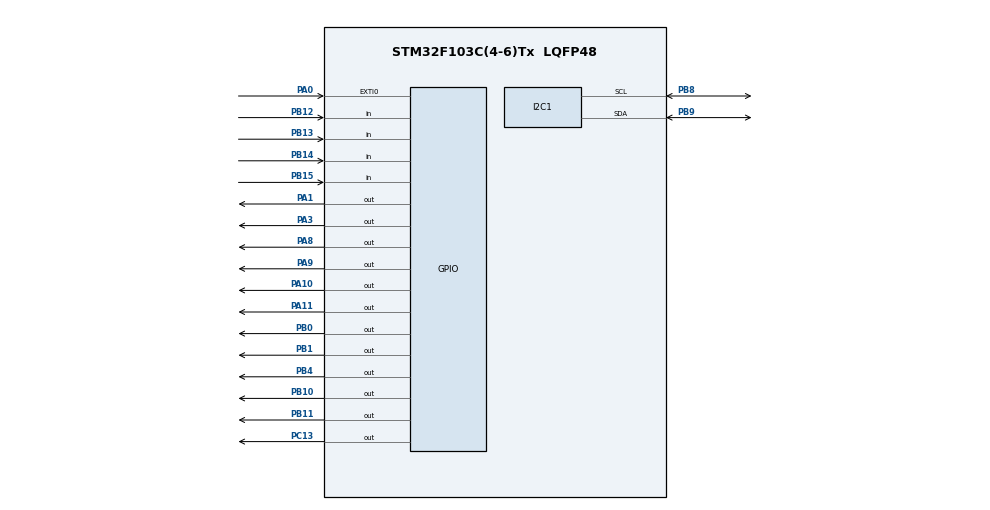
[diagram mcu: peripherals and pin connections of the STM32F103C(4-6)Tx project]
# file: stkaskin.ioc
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Mcu.Family=STM32F1
Mcu.Name=STM32F103C(4-6)Tx
Mcu.Package=LQFP48
NVIC.EXTI0_IRQn=true\:0\:0\:false\:false\:true\:true\:true\:true
NVIC.PriorityGroup=NVIC_PRIORITYGROUP_4
PA0-WKUP.Signal=GPXTI0
PA1.Signal=GPIO_Output
PA10.Signal=GPIO_Output
PA11.Signal=GPIO_Output
PA13.Mode=Serial_Wire
PA13.Signal=SYS_JTMS-SWDIO
PA14.Mode=Serial_Wire
PA14.Signal=SYS_JTCK-SWCLK
PA3.Signal=GPIO_Output
PA8.Signal=GPIO_Output
PA9.Signal=GPIO_Output
PB0.Signal=GPIO_Output
PB1.Signal=GPIO_Output
PB10.Signal=GPIO_Output
PB11.Signal=GPIO_Output
PB12.Signal=GPIO_Input
PB13.Signal=GPIO_Input
PB14.Signal=GPIO_Input
PB15.Signal=GPIO_Input
PB4.Signal=GPIO_Output
PB8.Mode=I2C
PB8.Signal=I2C1_SCL
PB9.Mode=I2C
PB9.Signal=I2C1_SDA
PC13-TAMPER-RTC.Signal=GPIO_Output
PD0-OSC_IN.Mode=HSE-External-Oscillator
PD0-OSC_IN.Signal=RCC_OSC_IN
PD1-OSC_OUT.Mode=HSE-External-Oscillator
PD1-OSC_OUT.Signal=RCC_OSC_OUT
ProjectManager.HeapSize=0x200
ProjectManager.StackSize=0x400
ProjectManager.TargetToolchain=STM32CubeIDE
RCC.APB1Freq_Value=8000000
RCC.APB2Freq_Value=8000000
board=custom

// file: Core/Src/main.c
/* USER CODE BEGIN Header */
/**
 ******************************************************************************
 * @file           : main.c
 * @brief          : Main program body
 ******************************************************************************
 * @attention
 *
 * Copyright (c) 2022 STMicroelectronics.
 * All rights reserved.
 *z
 * This software is licensed under terms that can be found in the LICENSE file
 * in the root directory of this software component.
 * If no LICENSE file comes with this software, it is provided AS-IS.
 *
 ******************************************************************************
 */
/* USER CODE END Header */
#include "main.h"

/* USER CODE BEGIN Includes */
#include "lcd.h"
#include "keypad_4x4.h"
char key_val;

/* USER CODE END Includes */

I2C_HandleTypeDef hi2c1;

/* USER CODE BEGIN PV */
Lcd_HandleTypeDef lcd;
int adc_raw, temp;
uint32_t adcData[2];
int say = 0;
int number = 0;
int ml = 0;
int dizi[] = { -1, -1, -1, -1, -1 };
int bul = -1;
uint16_t sistikcount = 0, milim = 0;
/* USER CODE END PV */

void SystemClock_Config(void);
static void MX_GPIO_Init(void);
static void MX_I2C1_Init(void);

/* USER CODE BEGIN 0 */
void sayi(int k) {
	for (int i = 0; i < 5; i++) {
		if (dizi[i] == -1) {
			dizi[i] = k;
			break;
		}
	}
	Lcd_clear(&lcd);
	Lcd_cursor(&lcd, 0, 7);
	Lcd_int(&lcd, getirSayi());

}
int getirSayi() {
	int sayiCarpim = 1;
	int deger = 0;
	for (int i = 4; i >= 0; i--) {
		if (dizi[i] != -1) {
			deger += dizi[i] * sayiCarpim;
			sayiCarpim = sayiCarpim * 10;
		}
	}
	return deger;
}
char read_keypad()

{
	key_val = keypad_get_key_value();

	if (bul == -1) {
		bul = 0;
		if (key_val == 49) {

			sayi(1);
			return '1';
		} else if (key_val == 50) {

			sayi(2);
			return '2';
		} else if (key_val == 51) {
			sayi(3);
			return '3';
		} else if (key_val == 52) {
			sayi(4);
			return '4';
		} else if (key_val == 53) {
			sayi(5);
			return '5';
		} else if (key_val == 54) {
			sayi(6);
			return '6';
		} else if (key_val == 55) {
			sayi(7);
			return '7';
		} else if (key_val == 56) {
			sayi(8);
			return '8';
		} else if (key_val == 58) {
			sayi(9);
			return '9';
		} else if (key_val == 48) {
			sayi(0);
			return '0';
		} else if (key_val == 42) {
			return '*';
		} else if (key_val == 35) {
			return '#';
		} else if (key_val == 65) {
			return 'A';
		} else if (key_val == 66) {
			return 'B';
		} else if (key_val == 67) {
			return 'C';
		} else if (key_val == 68) {
			return 'D';
		}
	} else if (key_val == 32) {

		bul = -1;
		return -1;
	}

}

/* USER CODE END 0 */

int main(void) {

	/* MCU Configuration--------------------------------------------------------*/

	/* Reset of all peripherals, Initializes the Flash interface and the Systick. */
	HAL_Init();

	/* Configure the system clock */
	SystemClock_Config();

	/* Initialize all configured peripherals */
	MX_GPIO_Init();
	MX_I2C1_Init();
	/* USER CODE BEGIN 2 */
	// Lcd_PortType ports[] = { D4_GPIO_Port, D5_GPIO_Port, D6_GPIO_Port, D7_GPIO_Port };
	Lcd_PortType ports[] = { GPIOB, GPIOB, GPIOB, GPIOB };
	// Lcd_PinType pins[] = {D4_Pin, D5_Pin, D6_Pin, D7_Pin};
	Lcd_PinType pins[] = { GPIO_PIN_0, GPIO_PIN_1, GPIO_PIN_10, GPIO_PIN_11 };

	// Lcd_create(ports, pins, RS_GPIO_Port, RS_Pin, EN_GPIO_Port, EN_Pin, LCD_4_BIT_MODE);
	lcd = Lcd_create(ports, pins, GPIOA, GPIO_PIN_1, GPIOA, GPIO_PIN_3,
			LCD_4_BIT_MODE);
	Lcd_cursor(&lcd, 0, 1);
	Lcd_clear(&lcd);
	Lcd_string(&lcd, "LCD");

	Lcd_clear(&lcd);
	/* USER CODE END 2 */

	/* Infinite loop */
	/* USER CODE BEGIN WHILE */
	keypad_init();
	int oldmilim = -1;
	int baslatmaturu = -1;
	HAL_GPIO_WritePin(GPIOB, GPIO_PIN_4, 1);
	while (1) {
		/*Lcd_cursor(&lcd, 0, 1);
		 //3,57142
		 Lcd_cursor(&lcd, 0, 0);
		 Lcd_string(&lcd, "Gecen miktar:");
		 Lcd_cursor(&lcd, 1, 1);
		 Lcd_string(&lcd,"       ");
		 Lcd_cursor(&lcd, 1, 1);
		 Lcd_int(&lcd,extint0say);*/
		Lcd_cursor(&lcd, 0, 0);
		Lcd_string(&lcd, "Kac mL:");
		char keypadvalue = read_keypad();
		if (keypadvalue == 'A') {
			baslatmaturu = -1;
			Lcd_clear(&lcd);
			//Lcd_string(&lcd, "A");

			HAL_GPIO_WritePin(GPIOB, GPIO_PIN_4, 1);
			Lcd_cursor(&lcd, 0, 7);
			Lcd_int(&lcd, getirSayi());
		} else if (keypadvalue == 'B') {
			Lcd_clear(&lcd);
			baslatmaturu = 0;
			//Lcd_string(&lcd, "B");

			HAL_GPIO_WritePin(GPIOB, GPIO_PIN_4, 0);
			Lcd_cursor(&lcd, 0, 7);
			Lcd_int(&lcd, getirSayi());
		}

		else if (keypadvalue == '*') {
			Lcd_clear(&lcd);
			milim = 0;
			baslatmaturu = 1;
			HAL_GPIO_WritePin(GPIOB, GPIO_PIN_4, 0);
		}
		else if (keypadvalue == 'C') {
			Lcd_clear(&lcd);
			milim=0;
			for (int i = 0; i < 5; i++) {
				dizi[i] = -1;
			}

		}
		if (baslatmaturu == 1 && milim >= getirSayi()) {
			baslatmaturu = -1;
			HAL_GPIO_WritePin(GPIOB, GPIO_PIN_4, 1);
		}
		Lcd_cursor(&lcd, 1, 1);
		Lcd_int(&lcd, milim);
		if (baslatmaturu == -1)
			Lcd_string(&lcd, "   Stop");
		else
			Lcd_string(&lcd, "   Start");

		/* USER CODE END WHILE */

	}
}

void SystemClock_Config(void) {
	RCC_OscInitTypeDef RCC_OscInitStruct = { 0 };
	RCC_ClkInitTypeDef RCC_ClkInitStruct = { 0 };

	/** Initializes the RCC Oscillators according to the specified parameters
	 * in the RCC_OscInitTypeDef structure.
	 */
	RCC_OscInitStruct.OscillatorType = RCC_OSCILLATORTYPE_HSI;
	RCC_OscInitStruct.HSIState = RCC_HSI_ON;
	RCC_OscInitStruct.HSICalibrationValue = RCC_HSICALIBRATION_DEFAULT;
	RCC_OscInitStruct.PLL.PLLState = RCC_PLL_NONE;
	if (HAL_RCC_OscConfig(&RCC_OscInitStruct) != HAL_OK) {
		Error_Handler();
	}

	/** Initializes the CPU, AHB and APB buses clocks
	 */
	RCC_ClkInitStruct.ClockType = RCC_CLOCKTYPE_HCLK | RCC_CLOCKTYPE_SYSCLK
			| RCC_CLOCKTYPE_PCLK1 | RCC_CLOCKTYPE_PCLK2;
	RCC_ClkInitStruct.SYSCLKSource = RCC_SYSCLKSOURCE_HSI;
	RCC_ClkInitStruct.AHBCLKDivider = RCC_SYSCLK_DIV1;
	RCC_ClkInitStruct.APB1CLKDivider = RCC_HCLK_DIV1;
	RCC_ClkInitStruct.APB2CLKDivider = RCC_HCLK_DIV1;

	if (HAL_RCC_ClockConfig(&RCC_ClkInitStruct, FLASH_LATENCY_0) != HAL_OK) {
		Error_Handler();
	}
}

static void MX_I2C1_Init(void) {

	hi2c1.Instance = I2C1;
	hi2c1.Init.ClockSpeed = 100000;
	hi2c1.Init.DutyCycle = I2C_DUTYCYCLE_2;
	hi2c1.Init.OwnAddress1 = 0;
	hi2c1.Init.AddressingMode = I2C_ADDRESSINGMODE_7BIT;
	hi2c1.Init.DualAddressMode = I2C_DUALADDRESS_DISABLE;
	hi2c1.Init.OwnAddress2 = 0;
	hi2c1.Init.GeneralCallMode = I2C_GENERALCALL_DISABLE;
	hi2c1.Init.NoStretchMode = I2C_NOSTRETCH_DISABLE;
	if (HAL_I2C_Init(&hi2c1) != HAL_OK) {
		Error_Handler();
	}

}

static void MX_GPIO_Init(void) {
	GPIO_InitTypeDef GPIO_InitStruct = { 0 };

	/* GPIO Ports Clock Enable */
	__HAL_RCC_GPIOC_CLK_ENABLE();
	__HAL_RCC_GPIOD_CLK_ENABLE();
	__HAL_RCC_GPIOA_CLK_ENABLE();
	__HAL_RCC_GPIOB_CLK_ENABLE();

	/*Configure GPIO pin Output Level */
	HAL_GPIO_WritePin(GPIOC, GPIO_PIN_13, GPIO_PIN_RESET);

	/*Configure GPIO pin Output Level */
	HAL_GPIO_WritePin(GPIOA,
			GPIO_PIN_1 | GPIO_PIN_3 | GPIO_PIN_8 | GPIO_PIN_9 | GPIO_PIN_10
					| GPIO_PIN_11, GPIO_PIN_RESET);

	/*Configure GPIO pin Output Level */
	HAL_GPIO_WritePin(GPIOB,
			GPIO_PIN_0 | GPIO_PIN_1 | GPIO_PIN_10 | GPIO_PIN_11 | GPIO_PIN_4,
			GPIO_PIN_RESET);

	/*Configure GPIO pin : PC13 */
	GPIO_InitStruct.Pin = GPIO_PIN_13;
	GPIO_InitStruct.Mode = GPIO_MODE_OUTPUT_PP;
	GPIO_InitStruct.Pull = GPIO_NOPULL;
	GPIO_InitStruct.Speed = GPIO_SPEED_FREQ_LOW;
	HAL_GPIO_Init(GPIOC, &GPIO_InitStruct);

	/*Configure GPIO pin : PA0 */
	GPIO_InitStruct.Pin = GPIO_PIN_0;
	GPIO_InitStruct.Mode = GPIO_MODE_IT_RISING;
	GPIO_InitStruct.Pull = GPIO_NOPULL;
	HAL_GPIO_Init(GPIOA, &GPIO_InitStruct);

	/*Configure GPIO pins : PA1 PA3 PA8 PA9
	 PA10 PA11 */
	GPIO_InitStruct.Pin = GPIO_PIN_1 | GPIO_PIN_3 | GPIO_PIN_8 | GPIO_PIN_9
			| GPIO_PIN_10 | GPIO_PIN_11;
	GPIO_InitStruct.Mode = GPIO_MODE_OUTPUT_PP;
	GPIO_InitStruct.Pull = GPIO_NOPULL;
	GPIO_InitStruct.Speed = GPIO_SPEED_FREQ_LOW;
	HAL_GPIO_Init(GPIOA, &GPIO_InitStruct);

	/*Configure GPIO pins : PB0 PB1 PB10 PB11
	 PB4 */
	GPIO_InitStruct.Pin = GPIO_PIN_0 | GPIO_PIN_1 | GPIO_PIN_10 | GPIO_PIN_11
			| GPIO_PIN_4;
	GPIO_InitStruct.Mode = GPIO_MODE_OUTPUT_PP;
	GPIO_InitStruct.Pull = GPIO_NOPULL;
	GPIO_InitStruct.Speed = GPIO_SPEED_FREQ_LOW;
	HAL_GPIO_Init(GPIOB, &GPIO_InitStruct);

	/*Configure GPIO pins : PB12 PB13 PB14 PB15 */
	GPIO_InitStruct.Pin = GPIO_PIN_12 | GPIO_PIN_13 | GPIO_PIN_14 | GPIO_PIN_15;
	GPIO_InitStruct.Mode = GPIO_MODE_INPUT;
	GPIO_InitStruct.Pull = GPIO_NOPULL;
	HAL_GPIO_Init(GPIOB, &GPIO_InitStruct);

	/* EXTI interrupt init*/
	HAL_NVIC_SetPriority(EXTI0_IRQn, 0, 0);
	HAL_NVIC_EnableIRQ(EXTI0_IRQn);

}

void Error_Handler(void) {
	__disable_irq();
	while (1) {
	}
}
